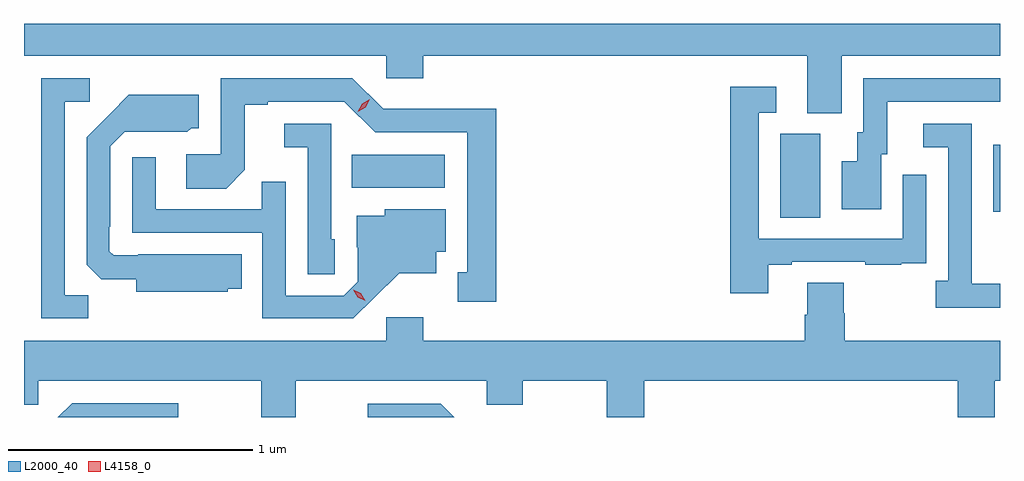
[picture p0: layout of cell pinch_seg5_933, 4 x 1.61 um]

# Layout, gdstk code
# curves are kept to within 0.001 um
import gdstk
lib = gdstk.Library(unit=1e-6, precision=1e-09)
def R(c, l, rs):  # rectangles x0, y0, x1, y1
    for r in rs: c.add(gdstk.rectangle(r[:2], r[2:], *l))
def P(c, l, *ps):  # polygons
    for p in ps: c.add(gdstk.Polygon(p, *l))
L2000_40 = (2000, 40)
L4158_0 = (4158, 0)

pinch_seg5_933 = lib.new_cell('pinch_seg5_933')
R(pinch_seg5_933, L2000_40, [(734.306,914.704,734.47,915.048), (735.179,914.729,735.206,915.004), (732.55,914.828,732.931,914.962)])
P(pinch_seg5_933, L2000_40, [(734.557,915.368),(735.206,915.368),(735.206,915.5),(731.206,915.5),(731.206,915.368),(732.69,915.368),(732.69,915.275),(732.842,915.275),(732.842,915.368),(734.417,915.368),(734.417,915.133),(734.557,915.133)],
  [(731.469,914.387),(731.373,914.387),(731.373,915.18),(731.476,915.18),(731.476,915.276),(731.277,915.276),(731.277,914.292),(731.469,914.292)],
  [(734.719,914.964),(734.743,914.964),(734.743,915.18),(735.206,915.18),(735.206,915.276),(734.646,915.276),(734.646,915.054),(734.621,915.054),(734.621,914.935),(734.558,914.935),(734.558,914.739),(734.719,914.739)],
  [(733.141,915.152),(732.9,915.152),(732.9,915.15),(732.678,915.15),(732.552,915.276),(732.012,915.276),(732.012,914.964),(731.871,914.964),(731.871,914.824),(732.035,914.824),(732.111,914.9),(732.111,915.168),(732.205,915.168),(732.205,915.18),(732.519,915.18),(732.645,915.054),(733.022,915.054),(733.022,914.481),(732.983,914.481),(732.983,914.361),(733.141,914.361)],
  [(734.257,914.511),(734.353,914.511),(734.353,914.523),(734.653,914.523),(734.653,914.511),(734.801,914.511),(734.801,914.517),(734.903,914.517),(734.903,914.626),(734.904,914.626),(734.904,914.881),(734.808,914.881),(734.808,914.619),(734.217,914.619),(734.217,915.135),(734.29,915.135),(734.29,915.241),(734.101,915.241),(734.101,914.394),(734.257,914.394)],
  [(732.042,914.414),(732.098,914.414),(732.098,914.554),(731.674,914.554),(731.674,914.55),(731.574,914.55),(731.556,914.568),(731.556,914.668),(731.559,914.668),(731.559,914.997),(731.619,915.057),(731.876,915.056),(731.892,915.072),(731.923,915.072),(731.923,915.208),(731.635,915.208),(731.463,915.034),(731.463,914.512),(731.522,914.453),(731.666,914.453),(731.666,914.402),(732.042,914.402)],
  [(735.206,914.433),(735.091,914.433),(735.091,914.633),(735.09,914.633),(735.09,915.09),(734.892,915.09),(734.892,914.994),(734.994,914.994),(734.994,914.446),(734.943,914.446),(734.943,914.336),(735.206,914.336)],
  [(732.48,914.616),(732.465,914.616),(732.465,915.09),(732.273,915.09),(732.273,914.993),(732.369,914.993),(732.369,914.473),(732.48,914.473)],
  [(732.64,914.375),(732.743,914.477),(732.895,914.477),(732.895,914.564),(732.934,914.564),(732.934,914.74),(732.684,914.74),(732.684,914.713),(732.569,914.713),(732.569,914.584),(732.573,914.584),(732.573,914.442),(732.516,914.385),(732.279,914.385),(732.279,914.852),(732.181,914.852),(732.181,914.739),(731.745,914.739),(731.745,914.953),(731.649,914.953),(731.649,914.643),(732.183,914.643),(732.183,914.292),(732.556,914.292)],
  [(732.319,914.036),(733.103,914.036),(733.103,913.937),(733.251,913.937),(733.251,914.036),(733.595,914.036),(733.595,913.886),(733.748,913.886),(733.748,914.036),(735.032,914.036),(735.032,913.886),(735.184,913.886),(735.184,914.036),(735.206,914.036),(735.206,914.2),(734.57,914.2),(734.57,914.313),(734.565,914.313),(734.565,914.438),(734.417,914.438),(734.417,914.306),(734.405,914.306),(734.405,914.2),(732.842,914.2),(732.842,914.296),(732.69,914.296),(732.69,914.2),(731.206,914.2),(731.206,913.938),(731.265,913.938),(731.265,914.036),(732.179,914.036),(732.179,913.886),(732.319,913.886)],
  [(731.838,913.944),(731.403,913.944),(731.345,913.886),(731.838,913.886)],
  [(732.915,913.941),(732.615,913.941),(732.615,913.886),(732.97,913.886)])
P(pinch_seg5_933, L4158_0, [(732.574,915.139),(732.574,915.139),(732.592,915.171),(732.623,915.19),(732.624,915.19),(732.624,915.19),(732.606,915.157),(732.574,915.139)],
  [(732.604,914.364),(732.574,914.379),(732.556,914.409),(732.556,914.409),(732.556,914.409),(732.587,914.394),(732.605,914.364),(732.605,914.364)])

lib.write_gds('pinch_seg5_933.gds')
